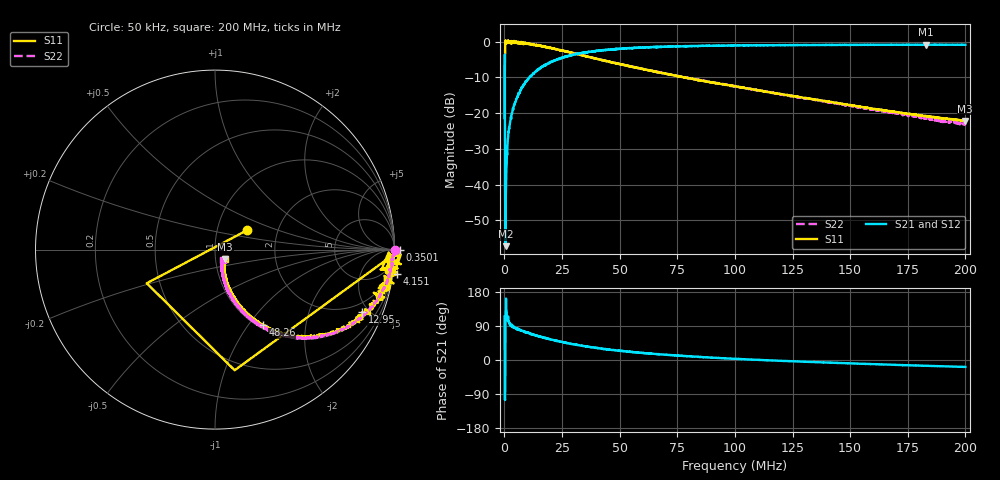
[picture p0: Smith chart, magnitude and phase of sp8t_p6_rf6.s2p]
! 26-Feb-26 12:31:30 PM
! E:\VNA_MEASUREMENTS\SP8T\SP8T_P6_RF6.S2P
! CHANNEL.1
! TR.MEASUREMENT
! CORRECTED.DATA
# GHZ S RI R 50.0
! FREQ.GHZ  S11RE  S11IM  S21RE  S21IM  S12RE  S12IM  S22RE  S22IM
!; PortSelection: Port_12
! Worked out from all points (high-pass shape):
!   2000 points, 50 kHz to 200 MHz, reference 50 ohm
!   highest |S21| = -0.83 dB at 182.9 MHz (marker M1); lowest = -57.3 dB at 450.1 kHz (marker M2)
!   |S21| within 3 dB of the highest: 28.5 MHz to 28.73 MHz (224 kHz wide, 0.783 % of centre); 29.1 MHz to end of sweep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
!   lowest |S11| = -22.2 dB at 199.9 MHz (marker M3), VSWR 1.17, Z = 55.7 - j5.94 ohm
!   |S11| at or under -10 dB: start of sweep to 109.1 kHz; 77.84373 MHz to 77.87564 MHz (31.91 kHz wide, 0.041 % of centre); 78.03 MHz to end of sweep
!   |S22| runs from -23.2 to 0.0 dB; largest |S21 - S12| = 0.66
!   S11 on the Smith chart (normalised r, x): 50 kHz: 1.39, +0.31; 350.1 kHz: -69, -5; 4.151 MHz: -2, -14; 12.95 MHz: 1.33, -4.54; 48.26 MHz: 1.05, -1.18; 200 MHz: 1.11, -0.12
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5e-05  0.1772 0.1072  -0.0359 0.0769  -0.00734 0.00337  1.002 -0.00423
0.000350075  1.029 -0.00224  0.00183 -0.00229  -0.00107 0.00832  1.004 -0.0225
0.0004501  0.999 -0.0282  -0.000476 0.00128  -0.000998 0.0112  0.9961 -0.00667
0.001150275  0.9755 -0.0342  -0.011 0.0234  -0.00269 0.0329  0.9913 -0.0427
0.0012503  0.9663 -0.0551  -0.0123 0.0323  -0.00234 0.0349  0.9984 -0.052
0.001350325  0.9775 -0.0746  -0.00959 0.0356  -0.00259 0.0371  0.9899 -0.0568
0.001750425  1.011 -0.0727  -0.0106 0.0544  -0.00268 0.0498  0.9882 -0.0588
0.00225055  0.9772 -0.0674  -0.00601 0.0669  -0.00259 0.0662  0.9909 -0.0769
0.003150775  0.9782 -0.1161  0.00328 0.0978  0.00354 0.0927  0.9758 -0.1148
0.004151026  1.014 -0.1371  0.00776 0.1314  0.00987 0.1278  0.9725 -0.1406
0.007751926  0.9264 -0.2502  0.0535 0.2274  0.0541 0.2253  0.9235 -0.2445
0.01295323  0.8207 -0.3485  0.1454 0.3328  0.1455 0.3397  0.8324 -0.3659
0.02265565  0.6317 -0.4706  0.3585 0.4423  0.3643 0.4331  0.6204 -0.4747
0.03345835  0.4332 -0.4776  0.5521 0.422  0.5459 0.4231  0.4254 -0.4906
0.04826206  0.2655 -0.4219  0.7159 0.3395  0.7108 0.339  0.2559 -0.4276
0.06676668  0.1622 -0.3399  0.8175 0.2307  0.816 0.2257  0.1467 -0.3411
0.100075  0.0817 -0.2235  0.8864 0.0451  0.8832 0.046  0.0709 -0.229
0.1333833  0.0578 -0.1459  0.8935 -0.0801  0.8921 -0.0811  0.0447 -0.1506
0.1666917  0.0524 -0.093  0.8833 -0.1922  0.882 -0.1912  0.0398 -0.0959
0.1828957  0.0532 -0.0735  0.8768 -0.2409  0.8706 -0.2398  0.0392 -0.0776
0.1999  0.0571 -0.0529  0.8578 -0.2837  0.8552 -0.2846  0.0425 -0.0551
0.2  0.0573 -0.0531  0.8573 -0.2828  0.8553 -0.283  0.0439 -0.0554
